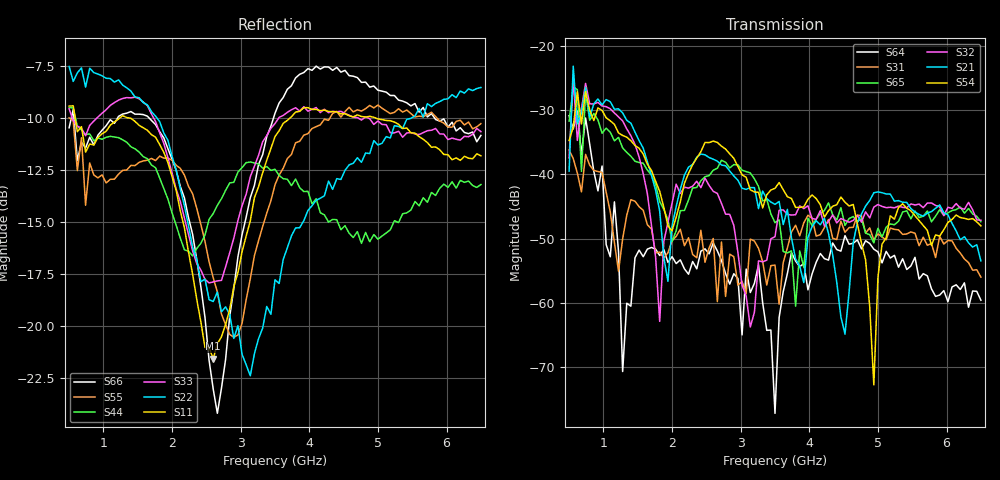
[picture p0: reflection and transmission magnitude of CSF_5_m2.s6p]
!Keysight Technologies,M9804A,MY58100912,A.14.10.03
!Date: Thursday, April 27, 2023 10:28:33
!Correction: S11(C  6-Port  )
!S12(C  6-Port  )
!S13(C  6-Port  )
!S14(C  6-Port  )
!S15(C  6-Port  )
!S16(C  6-Port  )
!S21(C  6-Port  )
!S22(C  6-Port  )
!S23(C  6-Port  )
!S24(C  6-Port  )
!S25(C  6-Port  )
!S26(C  6-Port  )
!S31(C  6-Port  )
!S32(C  6-Port  )
!S33(C  6-Port  )
!S34(C  6-Port  )
!S35(C  6-Port  )
!S36(C  6-Port  )
!S41(C  6-Port  )
!S42(C  6-Port  )
!S43(C  6-Port  )
!S44(C  6-Port  )
!S45(C  6-Port  )
!S46(C  6-Port  )
!S51(C  6-Port  )
!S52(C  6-Port  )
!S53(C  6-Port  )
!S54(C  6-Port  )
!S55(C  6-Port  )
!S56(C  6-Port  )
!S61(C  6-Port  )
!S62(C  6-Port  )
!S63(C  6-Port  )
!S64(C  6-Port  )
!S65(C  6-Port  )
!S66(C  6-Port  )
!S6P File: Measurement: :
# Hz S  RI  R 50
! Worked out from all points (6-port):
!   101 points, 500 MHz to 6.5 GHz, reference 50 ohm
!   strongest paths, dB at 500 MHz, 2 GHz, 3.5 GHz, 5 GHz, 6.5 GHz:
!     S54: -34.7, -48.7, -42.2, -56.0, -48.0
!     S21: -39.5, -48.0, -44.6, -42.7, -53.4
!     S32: -37.4, -44.5, -49.7, -44.7, -47.1
!     S65: -31.7, -50.4, -47.5, -48.4, -47.3
!     S31: -36.2, -50.3, -54.1, -49.2, -56.0
!     S64: -30.9, -52.8, -77.1, -52.0, -59.6
!   lowest |S11| = -21.6 dB at 2.6 GHz (marker M1), VSWR 1.18, Z = 42.6 + j2.07 ohm
!   |S11| at or under -10 dB: 588.5 MHz to 1.235 GHz (646.9 MHz wide, 70.9 % of centre); 1.386 GHz to 3.717 GHz (2.331 GHz wide, 91.4 % of centre); 4.971 GHz to end of sweep
